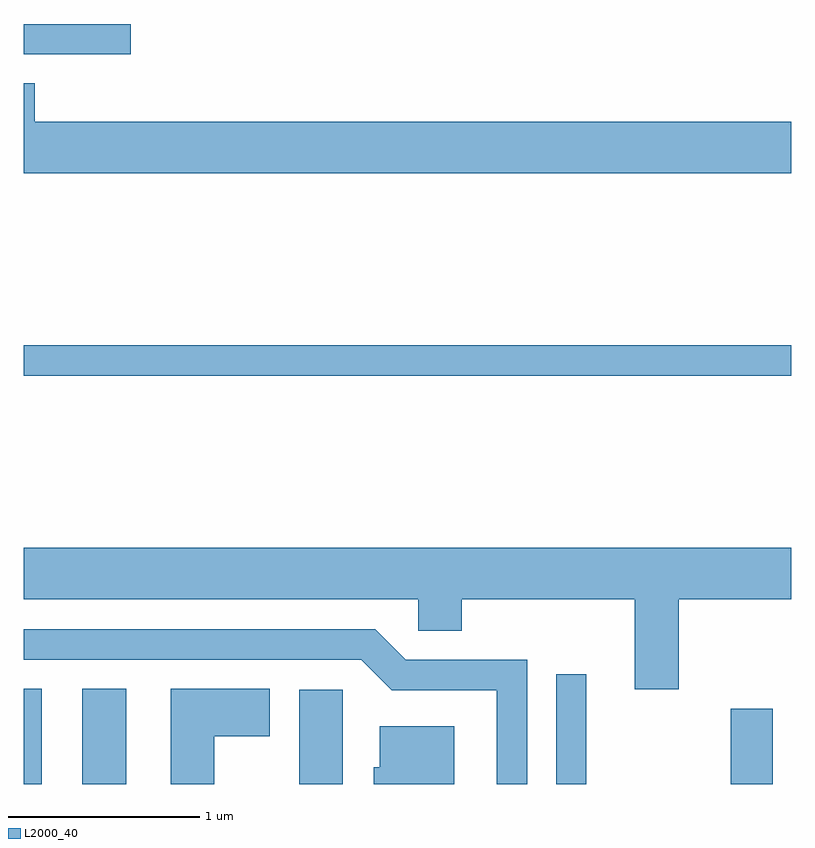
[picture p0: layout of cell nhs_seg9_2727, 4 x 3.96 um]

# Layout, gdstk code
import gdstk
lib = gdstk.Library(unit=1e-6, precision=1e-09)
def R(c, l, rs):  # rectangles x0, y0, x1, y1
    for r in rs: c.add(gdstk.rectangle(r[:2], r[2:], *l))
def P(c, l, *ps):  # polygons
    for p in ps: c.add(gdstk.Polygon(p, *l))
L2000_40 = (2000, 40)

nhs_seg9_2727 = lib.new_cell('nhs_seg9_2727')
R(nhs_seg9_2727, L2000_40, [(265.611,1966.432,265.704,1966.929), (265.916,1966.432,266.144,1966.929), (267.046,1966.432,267.274,1966.924), (268.386,1966.432,268.544,1967.003), (269.296,1966.432,269.514,1966.824), (265.611,1968.561,269.611,1968.719), (265.611,1970.236,266.168,1970.394)])
P(nhs_seg9_2727, L2000_40, [(269.611,1969.884),(265.669,1969.884),(265.669,1970.084),(265.611,1970.084),(265.611,1969.616),(269.611,1969.616)],
  [(269.024,1967.396),(269.611,1967.396),(269.611,1967.664),(265.611,1967.664),(265.611,1967.396),(267.666,1967.396),(267.666,1967.231),(267.894,1967.231),(267.894,1967.396),(268.796,1967.396),(268.796,1966.926),(269.024,1966.926)],
  [(268.234,1967.079),(267.602,1967.079),(267.442,1967.239),(265.611,1967.239),(265.611,1967.081),(267.369,1967.081),(267.529,1966.921),(268.076,1966.921),(268.076,1966.432),(268.234,1966.432)],
  [(266.604,1966.681),(266.894,1966.681),(266.894,1966.929),(266.376,1966.929),(266.376,1966.432),(266.604,1966.432)],
  [(267.854,1966.734),(267.466,1966.734),(267.466,1966.519),(267.436,1966.519),(267.436,1966.432),(267.854,1966.432)])

lib.write_gds('nhs_seg9_2727.gds')
